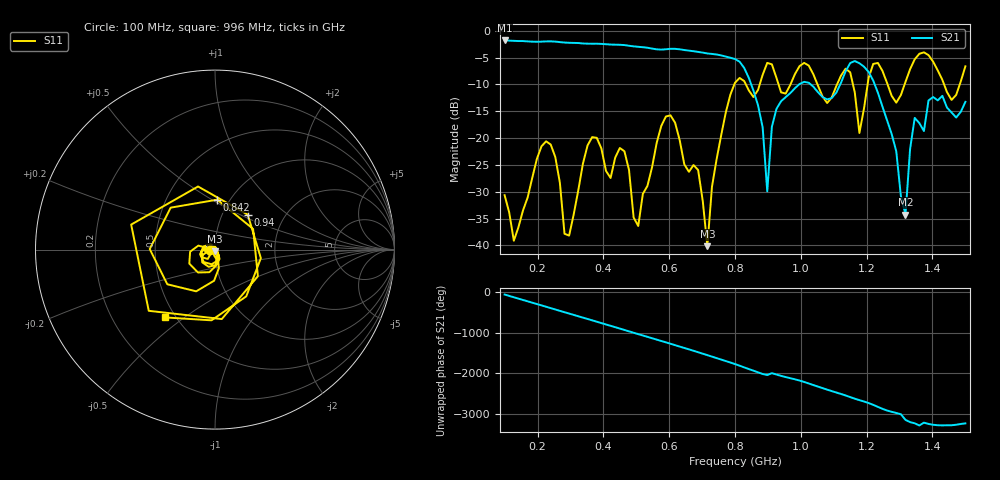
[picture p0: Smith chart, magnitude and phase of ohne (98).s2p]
! NanoVNA-App
! Date: 2025-09-25 14:21:34
! Start: 100MHz Stop: 1,5GHz Points: 101
! S-Parameter data: F S11 S21 S12 S22
# Hz S RI R 50
!  Frequency  S11_Real  S11_Imag  S21_Real  S21_Imag  S12_Real  S12_Imag  S22_Real  S22_Imag
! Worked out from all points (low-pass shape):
!   101 points, 100 MHz to 1.5 GHz, reference 50 ohm
!   highest |S21| = -1.79 dB at 100 MHz (marker M1); lowest = -34.2 dB at 1.318 GHz (marker M2)
!   |S21| within 3 dB of the highest: start of sweep to 771.5 MHz
!   lowest |S11| = -40.1 dB at 716 MHz (marker M3), VSWR 1.02, Z = 49.8 - j0.96 ohm
!   |S11| at or under -10 dB: start of sweep to 797.9 MHz; 833.1 MHz to 875.1 MHz (41.97 MHz wide, 4.91 % of centre); 1.051 GHz to 1.11 GHz (59.3 MHz wide, 5.49 % of centre) (the widest 3 of 7)
!   S12 and S22 are empty: the file has one direction only
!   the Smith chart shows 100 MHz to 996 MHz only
!   S11 on the Smith chart (normalised r, x): 100 MHz: 0.94, -0.01; 842 MHz: 0.88, +0.53; 940 MHz: 1.31, +0.55; 996 MHz: 0.44, -0.43
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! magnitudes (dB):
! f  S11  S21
! 100 MHz  -30.6  -1.8
! 128 MHz  -39.1  -1.9
! 226 MHz  -20.6  -2.0
! 296 MHz  -38.2  -2.2
! 338 MHz  -24.7  -2.4
! 464 MHz  -22.5  -2.7
! 506 MHz  -36.4  -3.0
! 576 MHz  -17.7  -3.5
! 688 MHz  -26.0  -3.9
! 716 MHz  -40.1  -4.2
! 800 MHz  -9.7  -5.3
! 842 MHz  -11.1  -8.8
! 898 MHz  -6.0  -29.9
! 940 MHz  -11.5  -13.1
! 996 MHz  -6.6  -9.9
! 1.038 GHz  -8.1  -10.4
! 1.178 GHz  -19.1  -6.0
! 1.22 GHz  -6.2  -9.3
! 1.276 GHz  -12.1  -19.2
! 1.318 GHz  -9.5  -34.2
! 1.346 GHz  -5.3  -16.2
! 1.5 GHz  -6.6  -13.2
